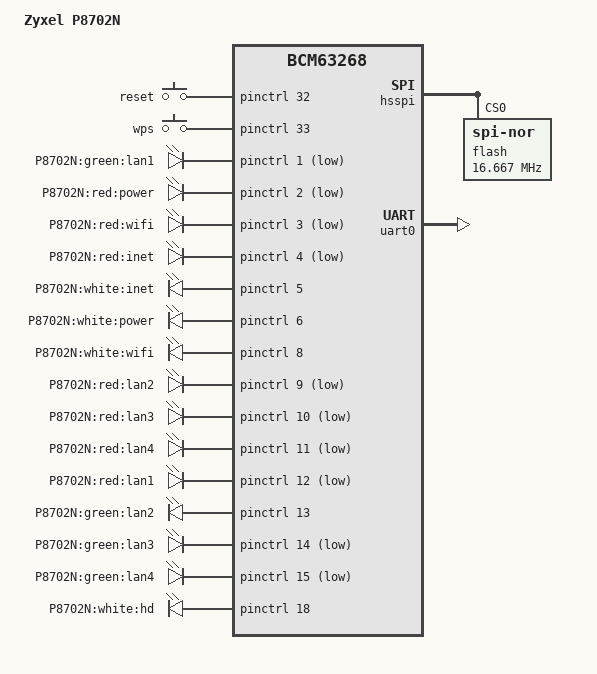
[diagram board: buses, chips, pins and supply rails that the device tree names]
/dts-v1/;

#include "bcm63268.dtsi"

#include <dt-bindings/input/input.h>

/ {
	model = "Zyxel P8702N";
	compatible = "zyxel,p8702n", "brcm,bcm63268";

	chosen {
		bootargs = "rootfstype=squashfs,jffs2 noinitrd console=ttyS0,115200";
		stdout-path = "serial0:115200n8";
	};

	keys {
		compatible = "gpio-keys-polled";
		#address-cells = <1>;
		#size-cells = <0>;
		poll-interval = <20>;

		reset {
			label = "reset";
			gpios = <&pinctrl 32 0>;
			linux,code = <KEY_RESTART>;
			debounce-interval = <60>;
		};

		wps {
			label = "wps";
			gpios = <&pinctrl 33 0>;
			linux,code = <KEY_WPS_BUTTON>;
			debounce-interval = <60>;
		};
	};

	leds {
		compatible = "gpio-leds";

		lan1_green {
			label = "P8702N:green:lan1";
			gpios = <&pinctrl 1 1>;
		};
		power_red {
			label = "P8702N:red:power";
			gpios = <&pinctrl 2 1>;
		};
		wifi_red {
			label = "P8702N:red:wifi";
			gpios = <&pinctrl 3 1>;
		};
		inet_red {
			label = "P8702N:red:inet";
			gpios = <&pinctrl 4 1>;
		};
		inet_white {
			label = "P8702N:white:inet";
			gpios = <&pinctrl 5 0>;
		};
		power_white {
			label = "P8702N:white:power";
			gpios = <&pinctrl 6 0>;
			default-state = "on";
		};
		wifi_white {
			label = "P8702N:white:wifi";
			gpios = <&pinctrl 8 0>;
		};
		lan2_red {
			label = "P8702N:red:lan2";
			gpios = <&pinctrl 9 1>;
		};
		lan3_red {
			label = "P8702N:red:lan3";
			gpios = <&pinctrl 10 1>;
		};
		lan4_red {
			label = "P8702N:red:lan4";
			gpios = <&pinctrl 11 1>;
		};
		lan1_red {
			label = "P8702N:red:lan1";
			gpios = <&pinctrl 12 1>;
		};
		lan2_green {
			label = "P8702N:green:lan2";
			gpios = <&pinctrl 13 0>;
		};
		lan3_green {
			label = "P8702N:green:lan3";
			gpios = <&pinctrl 14 1>;
		};
		lan4_green {
			label = "P8702N:green:lan4";
			gpios = <&pinctrl 15 1>;
		};
		hd_white {
			label = "P8702N:white:hd";
			gpios = <&pinctrl 18 0>;
		};
	};
};

&hsspi {
	status = "ok";

	flash@0 {
		compatible = "jedec,spi-nor";
		spi-max-frequency = <16666667>;
		spi-tx-bus-width = <2>;
		spi-rx-bus-width = <2>;
		reg = <0>;

		#address-cells = <1>;
		#size-cells = <1>;

		partitions {
			compatible = "brcm,bcm963xx-cfe-nor-partitions";
		};
	};
};

&uart0 {
	status = "ok";
};
